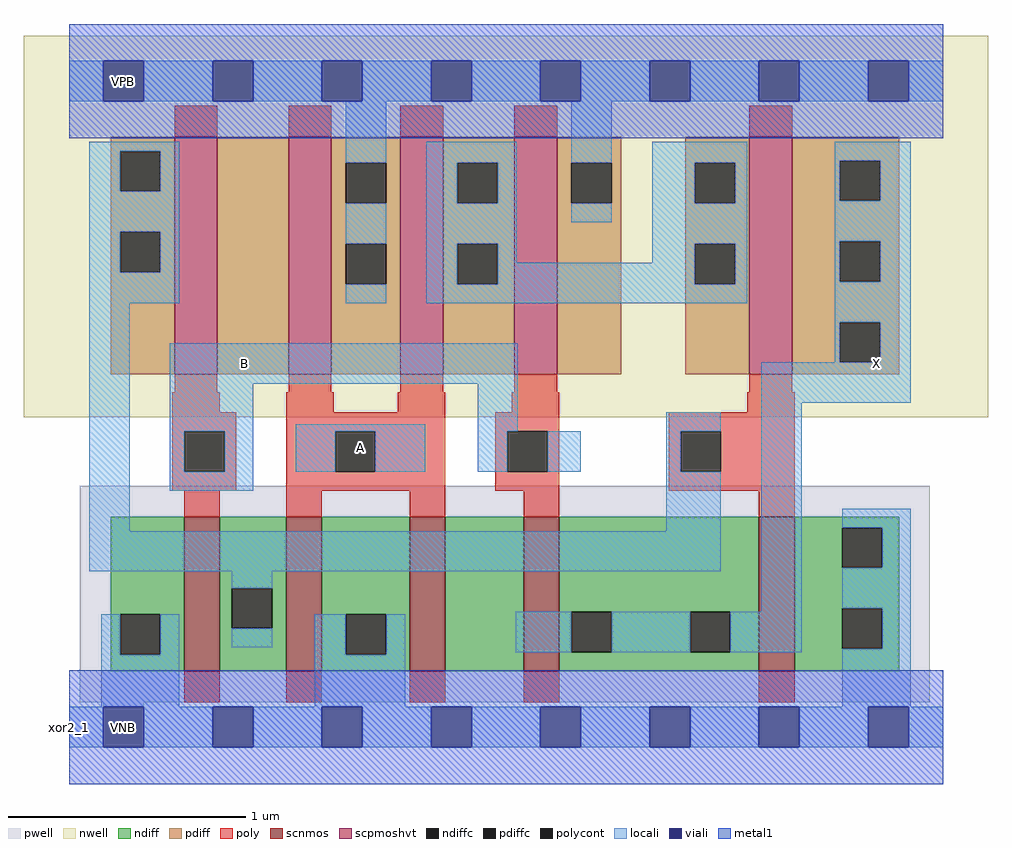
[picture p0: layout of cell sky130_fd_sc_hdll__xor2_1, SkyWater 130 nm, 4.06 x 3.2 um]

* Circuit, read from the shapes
.subckt sky130_fd_sc_hdll__xor2_1 A B VGND VNB VPB VPWR X
XM1 n1 B VGND VNB sky130_fd_pr__nfet_01v8 w=0.65 l=0.15
XM2 VGND A n1 VNB sky130_fd_pr__nfet_01v8 w=0.65 l=0.15
XM3 n2 A VGND VNB sky130_fd_pr__nfet_01v8 w=0.65 l=0.15
XM4 X B n2 VNB sky130_fd_pr__nfet_01v8 w=0.65 l=0.15
XM5 VGND n1 X VNB sky130_fd_pr__nfet_01v8 w=0.65 l=0.15
XM6 n3 B n1 VPB sky130_fd_pr__pfet_01v8_hvt w=1 l=0.18
XM7 VPWR A n3 VPB sky130_fd_pr__pfet_01v8_hvt w=1 l=0.18
XM8 n4 A VPWR VPB sky130_fd_pr__pfet_01v8_hvt w=1 l=0.18
XM9 VPWR B n4 VPB sky130_fd_pr__pfet_01v8_hvt w=1 l=0.18
XM10 X n1 n4 VPB sky130_fd_pr__pfet_01v8_hvt w=1 l=0.18
.ends

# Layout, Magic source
magic
tech sky130A
magscale 1 2
<< nwell >>
rect -38 261 774 582
<< pwell >>
rect 9 21 725 203
rect 29 -17 63 21
<< scnmos >>
rect 97 47 127 177
rect 183 47 213 177
rect 287 47 317 177
rect 383 47 413 177
rect 581 47 611 177
<< scpmoshvt >>
rect 89 297 125 497
rect 185 297 221 497
rect 279 297 315 497
rect 375 297 411 497
rect 573 297 609 497
<< ndiff >>
rect 35 95 97 177
rect 35 61 43 95
rect 77 61 97 95
rect 35 47 97 61
rect 127 117 183 177
rect 127 83 137 117
rect 171 83 183 117
rect 127 47 183 83
rect 213 95 287 177
rect 213 61 233 95
rect 267 61 287 95
rect 213 47 287 61
rect 317 47 383 177
rect 413 97 581 177
rect 413 63 423 97
rect 457 63 523 97
rect 557 63 581 97
rect 413 47 581 63
rect 611 168 699 177
rect 611 134 651 168
rect 685 134 699 168
rect 611 100 699 134
rect 611 66 651 100
rect 685 66 699 100
rect 611 47 699 66
<< pdiff >>
rect 35 485 89 497
rect 35 451 43 485
rect 77 451 89 485
rect 35 417 89 451
rect 35 383 43 417
rect 77 383 89 417
rect 35 297 89 383
rect 125 297 185 497
rect 221 475 279 497
rect 221 441 233 475
rect 267 441 279 475
rect 221 407 279 441
rect 221 373 233 407
rect 267 373 279 407
rect 221 297 279 373
rect 315 475 375 497
rect 315 441 327 475
rect 361 441 375 475
rect 315 407 375 441
rect 315 373 327 407
rect 361 373 375 407
rect 315 297 375 373
rect 411 475 465 497
rect 411 441 423 475
rect 457 441 465 475
rect 411 297 465 441
rect 519 475 573 497
rect 519 441 527 475
rect 561 441 573 475
rect 519 407 573 441
rect 519 373 527 407
rect 561 373 573 407
rect 519 297 573 373
rect 609 477 699 497
rect 609 443 649 477
rect 683 443 699 477
rect 609 409 699 443
rect 609 375 649 409
rect 683 375 699 409
rect 609 341 699 375
rect 609 307 649 341
rect 683 307 699 341
rect 609 297 699 307
<< ndiffc >>
rect 43 61 77 95
rect 137 83 171 117
rect 233 61 267 95
rect 423 63 457 97
rect 523 63 557 97
rect 651 134 685 168
rect 651 66 685 100
<< pdiffc >>
rect 43 451 77 485
rect 43 383 77 417
rect 233 441 267 475
rect 233 373 267 407
rect 327 441 361 475
rect 327 373 361 407
rect 423 441 457 475
rect 527 441 561 475
rect 527 373 561 407
rect 649 443 683 477
rect 649 375 683 409
rect 649 307 683 341
<< poly >>
rect 89 497 125 523
rect 185 497 221 523
rect 279 497 315 523
rect 375 497 411 523
rect 573 497 609 523
rect 89 282 125 297
rect 185 282 221 297
rect 279 282 315 297
rect 375 282 411 297
rect 573 282 609 297
rect 87 265 127 282
rect 183 265 223 282
rect 277 265 317 282
rect 373 265 413 282
rect 571 265 611 282
rect 87 249 141 265
rect 87 215 97 249
rect 131 215 141 249
rect 87 199 141 215
rect 183 249 317 265
rect 183 215 224 249
rect 258 215 317 249
rect 183 199 317 215
rect 359 249 413 265
rect 359 215 369 249
rect 403 215 413 249
rect 359 199 413 215
rect 505 249 611 265
rect 505 215 515 249
rect 549 215 611 249
rect 505 199 611 215
rect 97 177 127 199
rect 183 177 213 199
rect 287 177 317 199
rect 383 177 413 199
rect 581 177 611 199
rect 97 21 127 47
rect 183 21 213 47
rect 287 21 317 47
rect 383 21 413 47
rect 581 21 611 47
<< polycont >>
rect 97 215 131 249
rect 224 215 258 249
rect 369 215 403 249
rect 515 215 549 249
<< locali >>
rect 0 527 29 561
rect 63 527 121 561
rect 155 527 213 561
rect 247 527 305 561
rect 339 527 397 561
rect 431 527 489 561
rect 523 527 581 561
rect 615 527 673 561
rect 707 527 736 561
rect 17 485 93 493
rect 17 451 43 485
rect 77 451 93 485
rect 17 417 93 451
rect 17 383 43 417
rect 77 383 93 417
rect 17 357 93 383
rect 233 475 267 527
rect 233 407 267 441
rect 233 357 267 373
rect 301 475 377 493
rect 301 441 327 475
rect 361 441 377 475
rect 301 407 377 441
rect 423 475 457 527
rect 423 425 457 441
rect 491 475 571 493
rect 491 441 527 475
rect 561 441 571 475
rect 301 373 327 407
rect 361 391 377 407
rect 491 407 571 441
rect 491 391 527 407
rect 361 373 527 391
rect 561 373 571 407
rect 301 357 571 373
rect 645 477 709 493
rect 645 443 649 477
rect 683 443 709 477
rect 645 409 709 443
rect 645 375 649 409
rect 683 375 709 409
rect 17 165 51 357
rect 645 341 709 375
rect 85 289 378 323
rect 645 307 649 341
rect 683 307 709 341
rect 85 249 155 289
rect 85 215 97 249
rect 131 215 155 249
rect 191 249 300 255
rect 191 215 224 249
rect 258 215 300 249
rect 344 249 378 289
rect 583 273 709 307
rect 503 249 549 265
rect 344 215 369 249
rect 403 215 431 249
rect 503 215 515 249
rect 85 199 155 215
rect 503 165 549 215
rect 17 131 549 165
rect 137 117 171 131
rect 27 61 43 95
rect 77 61 93 95
rect 583 97 617 273
rect 137 67 171 83
rect 27 17 93 61
rect 207 61 233 95
rect 267 61 283 95
rect 376 63 423 97
rect 457 63 523 97
rect 557 63 617 97
rect 651 168 709 184
rect 685 134 709 168
rect 651 100 709 134
rect 685 66 709 100
rect 207 17 283 61
rect 651 17 709 66
rect 0 -17 29 17
rect 63 -17 121 17
rect 155 -17 213 17
rect 247 -17 305 17
rect 339 -17 397 17
rect 431 -17 489 17
rect 523 -17 581 17
rect 615 -17 673 17
rect 707 -17 736 17
<< viali >>
rect 29 527 63 561
rect 121 527 155 561
rect 213 527 247 561
rect 305 527 339 561
rect 397 527 431 561
rect 489 527 523 561
rect 581 527 615 561
rect 673 527 707 561
rect 29 -17 63 17
rect 121 -17 155 17
rect 213 -17 247 17
rect 305 -17 339 17
rect 397 -17 431 17
rect 489 -17 523 17
rect 581 -17 615 17
rect 673 -17 707 17
<< metal1 >>
rect 0 561 736 592
rect 0 527 29 561
rect 63 527 121 561
rect 155 527 213 561
rect 247 527 305 561
rect 339 527 397 561
rect 431 527 489 561
rect 523 527 581 561
rect 615 527 673 561
rect 707 527 736 561
rect 0 496 736 527
rect 0 17 736 48
rect 0 -17 29 17
rect 63 -17 121 17
rect 155 -17 213 17
rect 247 -17 305 17
rect 339 -17 397 17
rect 431 -17 489 17
rect 523 -17 581 17
rect 615 -17 673 17
rect 707 -17 736 17
rect 0 -48 736 -17
<< labels >>
flabel locali s 131 289 165 323 0 FreeSans 200 0 0 0 B
port 2 nsew signal input
flabel locali s 663 289 697 323 0 FreeSans 200 0 0 0 X
port 7 nsew signal output
flabel locali s 191 215 300 255 0 FreeSans 200 0 0 0 A
port 1 nsew signal input
flabel pwell s 29 -17 63 17 0 FreeSans 200 0 0 0 VNB
port 4 nsew ground bidirectional
flabel nwell s 29 527 63 561 0 FreeSans 200 0 0 0 VPB
port 5 nsew power bidirectional
flabel metal1 s 29 527 63 561 0 FreeSans 200 0 0 0 VPWR
port 6 nsew power bidirectional
flabel metal1 s 29 -17 63 17 0 FreeSans 200 0 0 0 VGND
port 3 nsew ground bidirectional
rlabel comment s 0 0 0 0 4 xor2_1
<< properties >>
string LEFsite unithd
string LEFclass CORE
string FIXED_BBOX 0 0 736 544
string GDS_FILE $PDKPATH/libs.ref/sky130_fd_sc_hdll/gds/sky130_fd_sc_hdll.gds
string LEFsymmetry X Y R90
string GDS_END 33350
string GDS_START 27712
string LEFproperties maskLayoutSubType "abstract" prCellType "standard" originalViewName "layout"
<< end >>
